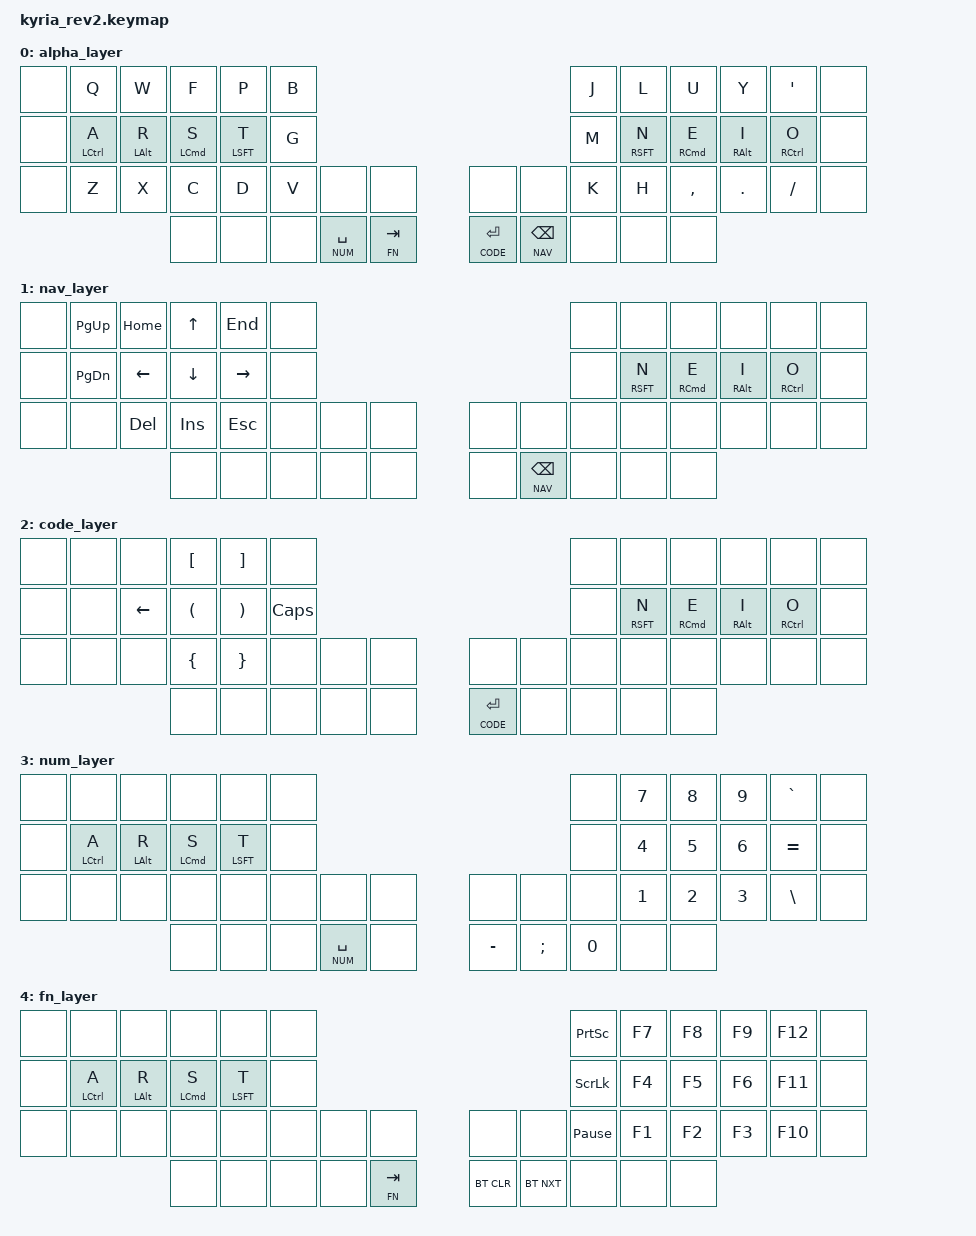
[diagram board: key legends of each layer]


#include <behaviors.dtsi>
#include <dt-bindings/zmk/keys.h>
#include <dt-bindings/zmk/bt.h>

#define ALPHA 0

#define NAV   1
#define CODE  2

#define NUM   3
#define FN    4


/ {
	behaviors {
         ht: hold_tap {
            compatible = "zmk,behavior-hold-tap";
            label = "LEFT_POSITIONAL_HOLD_TAP";
            #binding-cells = <2>;
            flavor = "tap-preferred";
            tapping-term-ms = <125>;
            bindings = <&kp>, <&kp>;
        };
    };
	keymap {
		compatible = "zmk,keymap";
		alpha_layer {
			bindings = <
	&none   &kp Q &kp W &kp F &kp P &kp B                                                &kp J &kp L  &kp U     &kp Y   &kp SINGLE_QUOTE      &none
	&none   &ht LCTRL A &ht LALT R &ht LCMD S &ht LSFT T &kp G                                                &kp M &ht RSFT N  &ht RCMD E     &ht RALT I   &ht RCTRL O      &none
	&none   &kp Z &kp X &kp C &kp D &kp V &none &none                        &none &none &kp K &kp H  &kp COMMA &kp DOT &kp FSLH   &none
	                 &none &none &none &lt NUM SPACE &lt FN TAB        &lt CODE RET  &lt NAV BSPC  &none &none &none
			>;
		};
		nav_layer {
			bindings = <
	&none   &kp PG_UP &kp HOME &kp UP &kp END &none                                                &none &none  &none     &none   &none      &none
	&none   &kp PAGE_DOWN &kp LEFT &kp DOWN &kp RIGHT &none                                                 &none &ht RSFT N  &ht RCMD E     &ht RALT I   &ht RCTRL O      &none
	&none   &none &kp DEL &kp INS &kp ESC &none &none &none                        &none &none &none &none  &none &none &none   &none
	                 &none &none &none &none &none        &none  &lt NAV BSPC  &none &none &none
			>;
		};

		code_layer {
			bindings = <
	&none   &none &none &kp LBKT &kp RBKT &none                                                &none &none  &none     &none   &none      &none
	&none   &none &kp LEFT &kp LPAR &kp RPAR &kp CAPS                                                &none &ht RSFT N  &ht RCMD E     &ht RALT I   &ht RCTRL O      &none
	&none   &none &none &kp LBRC &kp RBRC &none &none &none                        &none &none &none &none  &none &none &none   &none
	                 &none &none &none &none &none        &lt CODE RET  &none  &none &none &none
			>;
		};

		num_layer {
			bindings = <
			&none   &none &none &none &none &none                                    &none &kp N7 &kp N8 &kp N9 &kp GRAVE &none
			&none   &ht LCTRL A &ht LALT R &ht LCMD S &ht LSFT T &none                                    &none &kp N4 &kp N5 &kp N6 &kp EQUAL &none
			&none   &none &none &none &none &none &none &none            &none &none &none &kp N1 &kp N2 &kp N3 &kp BSLH &none
	                 &none &none &none &lt NUM SPACE &none               &kp MINUS &kp SEMI &kp N0 &none &none
			>;
		};

		fn_layer {
			bindings = <
			&none   &none &none &none &none &none                                    &kp PSCRN &kp F7 &kp F8 &kp F9 &kp F12 &none
			&none   &ht LCTRL A &ht LALT R &ht LCMD S &ht LSFT T &none                                    &kp SLCK &kp F4 &kp F5 &kp F6 &kp F11 &none
			&none   &none &none &none &none &none &none &none            &none &none &kp PAUSE_BREAK &kp F1 &kp F2 &kp F3 &kp F10 &none
	                 &none &none &none &none &lt FN TAB               &bt BT_CLR &bt BT_NXT &none &none &none
			>;
		};
	};
};
